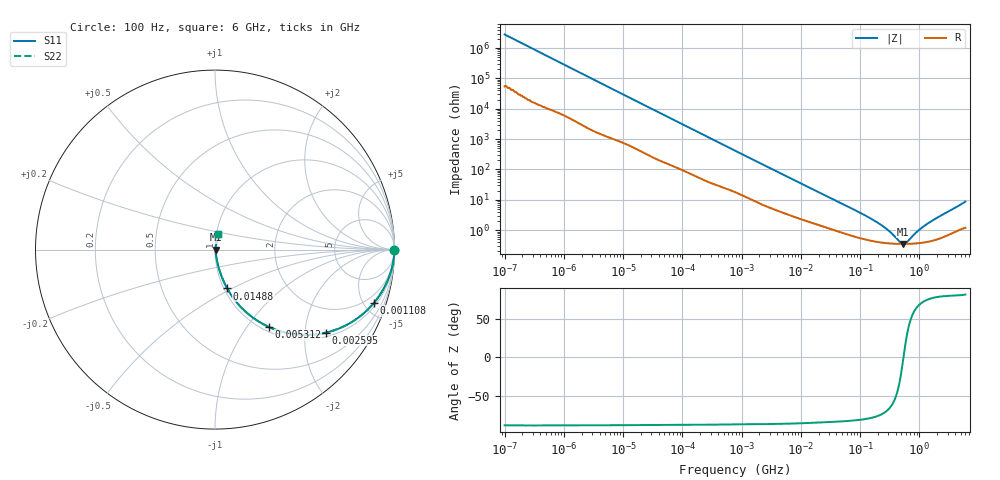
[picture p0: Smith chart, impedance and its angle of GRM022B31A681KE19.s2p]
!Murata Part Number: GRM022B31A681KE19
!These Parameters are Measured in Series Mode Connection
!Data Generated on Mar 30, 2021
!  o--ll--o
!Port1  Port2
!  o------o
!Operation Temp=25[degC], DC Bias Voltage=0[V]
!Freq. Start=100[Hz] Stop=6[GHz] 401[Steps]
# Hz S RI R 50
!Freq.(Hz) S11(Real) S11(Imag) S21(Real) S21(Imag) S12(Real) S12(Imag) S22(Real) S22(Imag)
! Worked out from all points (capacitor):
!   401 points, 100 Hz to 6 GHz, reference 50 ohm
!   read as one part in series: C = 567 pF near 109 Hz
!   lowest |Z| = 354 mohm at 534.7 MHz (marker M1)
!   series resonance near 541.2 MHz, so ESL is about 150 pH
!   S11 on the Smith chart (normalised r, x): 100 Hz: open; 1.108 MHz: 1.26, -5.87; 2.595 MHz: 1.12, -2.56; 5.312 MHz: 1.07, -1.28; 14.88 MHz: 1.04, -0.47; 6 GHz: 1.02, +0.17
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100  1 -3.58e-05  7e-07 3.58e-05  7e-07 3.58e-05  1 -3.58e-05
293  1 -0.000103  1.8e-06 0.000103  1.8e-06 0.000103  1 -0.000103
2008  1 -0.000692  1.46e-05 0.000692  1.46e-05 0.000692  1 -0.000692
40335  0.9995 -0.0133  0.000534 0.0133  0.000534 0.0133  0.9995 -0.0133
231233  0.9922 -0.0731  0.00781 0.0731  0.00781 0.0731  0.9922 -0.0731
774597  0.9367 -0.2228  0.0633 0.2228  0.0633 0.2228  0.9367 -0.2228
1108252  0.8856 -0.2967  0.1144 0.2967  0.1144 0.2967  0.8856 -0.2967
2594782  0.6168 -0.4628  0.3832 0.4628  0.3832 0.4628  0.6168 -0.4628
5311619  0.3006 -0.4313  0.6994 0.4313  0.6994 0.4313  0.3006 -0.4313
8692127  0.1516 -0.3281  0.8484 0.3281  0.8484 0.3281  0.1516 -0.3281
1.487547e7  0.0678 -0.2163  0.9322 0.2163  0.9322 0.2163  0.0678 -0.2163
1.555665e7  0.0635 -0.2083  0.9365 0.2083  0.9365 0.2083  0.0635 -0.2083
3.80911e7  0.0186 -0.0934  0.9814 0.0934  0.9814 0.0934  0.0186 -0.0934
1.275994e8  0.00565 -0.0285  0.9944 0.0285  0.9944 0.0285  0.00565 -0.0285
2.183701e8  0.00418 -0.0151  0.9958 0.0151  0.9958 0.0151  0.00418 -0.0151
3.124326e8  0.00373 -0.00843  0.9963 0.00843  0.9963 0.00843  0.00373 -0.00843
4.674818e8  0.00353 -0.00215  0.9965 0.00215  0.9965 0.00215  0.00353 -0.00215
5.346885e8  0.00352 -0.000175  0.9965 0.000175  0.9965 0.000175  0.00352 -0.000175
6.11557e8  0.00353 0.0018  0.9965 -0.0018  0.9965 -0.0018  0.00353 0.0018
9.150511e8  0.00375 0.00808  0.9963 -0.00808  0.9963 -0.00808  0.00375 0.00808
1.369159e9  0.00435 0.0157  0.9957 -0.0157  0.9957 -0.0157  0.00435 0.0157
6e9  0.0191 0.0843  0.9809 -0.0843  0.9809 -0.0843  0.0191 0.0843
